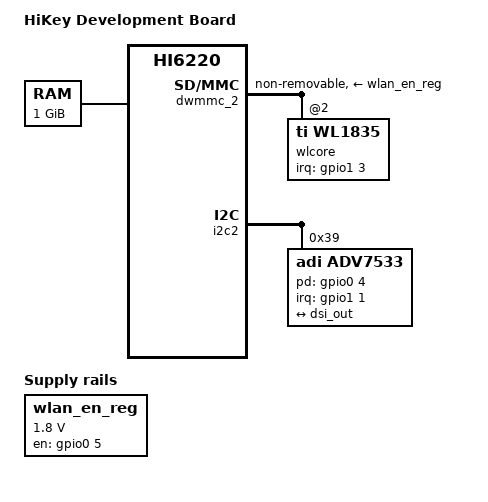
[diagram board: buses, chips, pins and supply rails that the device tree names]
/*
 * dts file for Hisilicon HiKey Development Board
 *
 * Copyright (C) 2015, Hisilicon Ltd.
 *
 */

/dts-v1/;

/*Reserved 1MB memory for MCU*/
/memreserve/ 0x05e00000 0x00100000;

#include "hi6220.dtsi"
#include "hikey-gpio.dtsi"
#include "hikey-pinctrl.dtsi"

/ {
	model = "HiKey Development Board";
	compatible = "hisilicon,hi6220-hikey", "hisilicon,hi6220";

	aliases {
		serial0 = &uart0; /* On board UART0 */
		serial1 = &uart1; /* BT UART */
		serial2 = &uart2; /* LS Expansion UART0 */
		serial3 = &uart3; /* LS Expansion UART1 */
		spi0 = &spi_0;
	};

	chosen {
		stdout-path = "serial3:115200n8";
	};

	memory@0 {
		device_type = "memory";
		reg = <0x0 0x0 0x0 0x40000000>;
	};

	soc {
		dwmmc_2: dwmmc2@f723f000 {
			ti,non-removable;
			non-removable;
			/* WL_EN */
			vmmc-supply = <&wlan_en_reg>;

			#address-cells = <0x1>;
			#size-cells = <0x0>;
			wlcore: wlcore@2 {
				compatible = "ti,wl1835";
				reg = <2>;	/* sdio func num */
				/* WL_IRQ, WL_HOST_WAKE_GPIO1_3 */
				interrupt-parent = <&gpio1>;
				interrupts = <3 IRQ_TYPE_EDGE_RISING>;
			};
		};

		wlan_en_reg: fixedregulator@1 {
			compatible = "regulator-fixed";
			regulator-name = "wlan-en-regulator";
			regulator-min-microvolt = <1800000>;
			regulator-max-microvolt = <1800000>;
			/* WLAN_EN GPIO */
			gpio = <&gpio0 5 0>;
			/* WLAN card specific delay */
			startup-delay-us = <70000>;
			enable-active-high;
		};

		i2c2: i2c@f7102000 {
			status = "ok";

			#address-cells = <0x1>;
			#size-cells = <0x0>;
			adv7533: adv7533@39 {
				compatible = "adi,adv7533";
				reg = <0x39>;
				interrupt-parent = <&gpio1>;
				interrupts = <1 2>;
				pd-gpio = <&gpio0 4 0>;
				adi,dsi-lanes = <4>;

				port {
					adv_in: endpoint {
						remote-endpoint = <&dsi_out>;
					};
				};
			};
		};
	};
};
